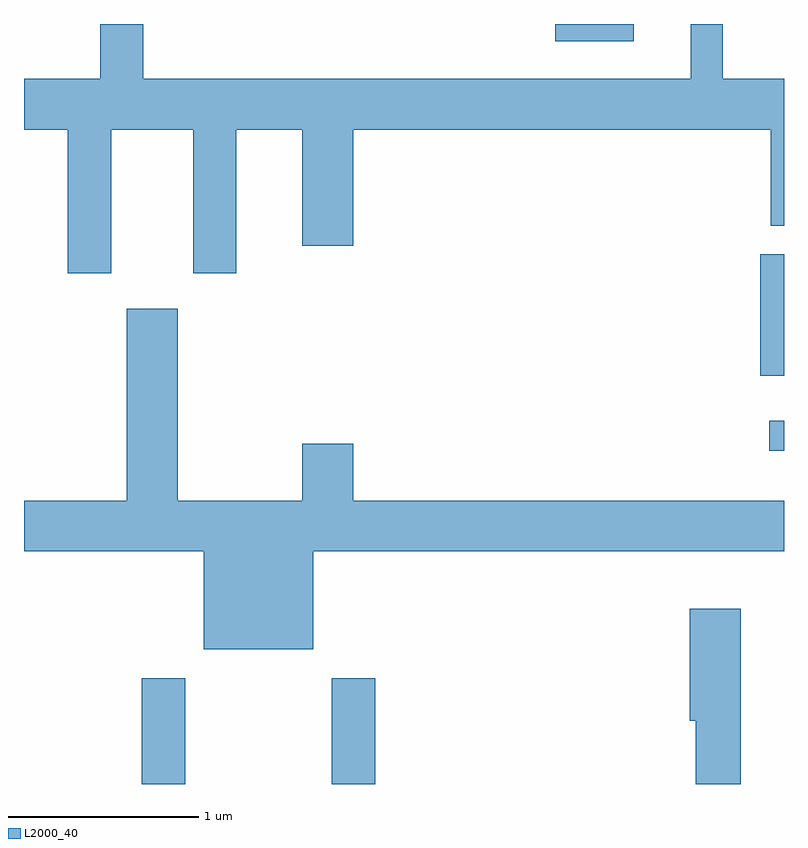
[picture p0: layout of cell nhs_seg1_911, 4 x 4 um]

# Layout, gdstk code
import gdstk
lib = gdstk.Library(unit=1e-6, precision=1e-09)
def R(c, l, rs):  # rectangles x0, y0, x1, y1
    for r in rs: c.add(gdstk.rectangle(r[:2], r[2:], *l))
def P(c, l, *ps):  # polygons
    for p in ps: c.add(gdstk.Polygon(p, *l))
L2000_40 = (2000, 40)

nhs_seg1_911 = lib.new_cell('nhs_seg1_911')
R(nhs_seg1_911, L2000_40, [(214.231,871.712,214.459,872.269), (215.231,871.712,215.459,872.269), (217.533,873.466,217.611,873.624), (217.486,873.861,217.611,874.499), (216.406,875.621,216.819,875.712)])
P(nhs_seg1_911, L2000_40, [(214.069,875.156),(214.501,875.156),(214.501,874.401),(214.729,874.401),(214.729,875.156),(215.076,875.156),(215.076,874.546),(215.344,874.546),(215.344,875.156),(217.541,875.156),(217.541,874.651),(217.611,874.651),(217.611,875.424),(217.289,875.424),(217.289,875.712),(217.121,875.712),(217.121,875.424),(214.239,875.424),(214.239,875.712),(214.011,875.712),(214.011,875.424),(213.611,875.424),(213.611,875.156),(213.841,875.156),(213.841,874.401),(214.069,874.401)],
  [(215.134,872.936),(217.611,872.936),(217.611,873.204),(215.344,873.204),(215.344,873.504),(215.076,873.504),(215.076,873.204),(214.419,873.204),(214.419,874.214),(214.151,874.214),(214.151,873.204),(213.611,873.204),(213.611,872.936),(214.556,872.936),(214.556,872.421),(215.134,872.421)],
  [(217.384,872.634),(217.116,872.634),(217.116,872.046),(217.146,872.046),(217.146,871.712),(217.384,871.712)])

lib.write_gds('nhs_seg1_911.gds')
